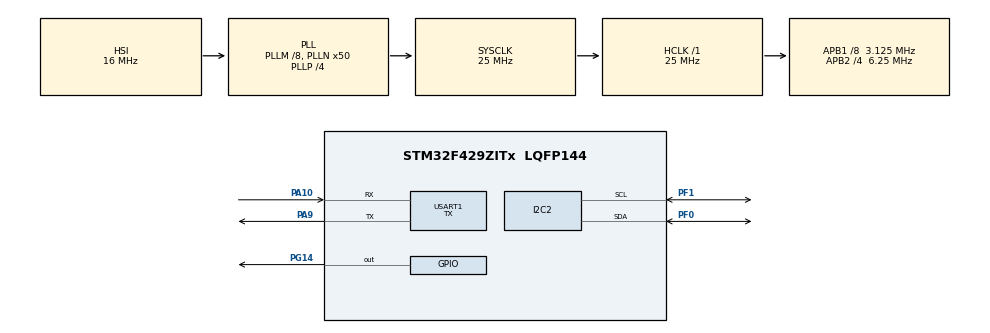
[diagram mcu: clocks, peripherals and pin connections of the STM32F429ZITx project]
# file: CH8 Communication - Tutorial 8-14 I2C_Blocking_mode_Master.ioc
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I2C2.OwnAddress=0x00
Mcu.Family=STM32F4
Mcu.Name=STM32F429ZITx
Mcu.Package=LQFP144
NVIC.PriorityGroup=NVIC_PRIORITYGROUP_0
PA10.Mode=Asynchronous
PA10.Signal=USART1_RX
PA9.Mode=Asynchronous
PA9.Signal=USART1_TX
PF0.GPIO_Pu=GPIO_PULLUP
PF0.Mode=I2C
PF0.Signal=I2C2_SDA
PF1.GPIO_Pu=GPIO_PULLUP
PF1.Mode=I2C
PF1.Signal=I2C2_SCL
PG14.Signal=GPIO_Output
ProjectManager.HeapSize=0x200
ProjectManager.StackSize=0x400
ProjectManager.TargetToolchain=STM32CubeIDE
RCC.48MHZClocksFreq_Value=14285714.285714285
RCC.AHBFreq_Value=25000000
RCC.APB1CLKDivider=RCC_HCLK_DIV8
RCC.APB1Freq_Value=3125000
RCC.APB1TimFreq_Value=6250000
RCC.APB2CLKDivider=RCC_HCLK_DIV4
RCC.APB2Freq_Value=6250000
RCC.APB2TimFreq_Value=12500000
RCC.CortexFreq_Value=25000000
RCC.HCLKFreq_Value=25000000
RCC.HSE_VALUE=8000000
RCC.HSI_VALUE=16000000
RCC.LSE_VALUE=32768
RCC.PLLM=8
RCC.PLLN=50
RCC.PLLP=RCC_PLLP_DIV4
RCC.PLLQ=7
RCC.SYSCLKFreq_VALUE=25000000
RCC.SYSCLKSource=RCC_SYSCLKSOURCE_PLLCLK
RCC.VCOOutputFreq_Value=100000000
USART1.Mode=MODE_TX
USART1.VirtualMode=VM_ASYNC
board=STM32F429I-DISC1

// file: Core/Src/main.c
/* USER CODE BEGIN Header */
/**
  ******************************************************************************
  * @file           : main.c
  * @brief          : Main program body
  ******************************************************************************
  * @attention
  *
  * Copyright (c) 2024 STMicroelectronics.
  * All rights reserved.
  *
  * This software is licensed under terms that can be found in the LICENSE file
  * in the root directory of this software component.
  * If no LICENSE file comes with this software, it is provided AS-IS.
  *
  ******************************************************************************
  */
	/***************************** Tutorial Tags ******************************
		 I2C Half duplex mode
		 GPIO Digital outputs
	 **************************************************************************/

	/* 8.4.4 I2C Usage in the STM32F4Microcontroller: **************************************
	 * Tutorial 8-1: Usage of the I2C module in blocking transmit operation mode, the C code

	Build a project using two microcontroller boards communicating with each other using I2C.
	if the microcontrolers are different and do not share the same drivers, use two projects to set them up.
	One of the MCUs is set a master and the other as a slave. In the projects, use two counters.
	The counter value is sent from the master board to the slave, and when received by the slave,
	the user led of the slave toggles. In return, the slave sends back its counter to the master
	and the master responds by toggling its user led.

	In this this tutorial I am using the STM32F DISCOVERY and the NULCLEO L476RG, and two projects
	are created separately to set them up.

	NOTE: Project description has been slightly modified from the one on the book

	Also, remember, if you are debug mode, with ST link connected to Master, you would
	need to reset the slave controller and run the Master to initiate communication with
	the slave device. The slave device will be powered externally.

	***************************************************************************/
/* USER CODE END Header */
#include "main.h"

/* USER CODE BEGIN Includes */
#include <stdio.h>
#include <stdlib.h>
#include <string.h>

/* USER CODE END Includes */

/* USER CODE BEGIN PD */
#define MASTER
//#define SLAVE

/* USER CODE END PD */

I2C_HandleTypeDef hi2c2;

UART_HandleTypeDef huart1;

/* USER CODE BEGIN PV */
// Data to be sent and received by the master
#ifdef MASTER
uint8_t masterTxdata = 0, masterRxdata;
// Buffer for messages
char * buf;
#endif

// Slave device address
static const uint16_t DevAddress = 0x50 << 1;

/* USER CODE END PV */

void SystemClock_Config(void);
static void MX_GPIO_Init(void);
static void MX_I2C2_Init(void);
static void MX_USART1_UART_Init(void);

int main(void)
{

  /* MCU Configuration--------------------------------------------------------*/

  /* Reset of all peripherals, Initializes the Flash interface and the Systick. */
  HAL_Init();

  /* Configure the system clock */
  SystemClock_Config();

  /* Initialize all configured peripherals */
  MX_GPIO_Init();
  MX_I2C2_Init();
  MX_USART1_UART_Init();

  /* USER CODE BEGIN 2 */
  buf = (char*) malloc(50);
  if (buf == NULL){
	  sprintf(buf, "error memory allocation!\r\n");
	  HAL_UART_Transmit(&huart1, (uint8_t*)buf, sizeof(buf), HAL_MAX_DELAY);
  }
  /* USER CODE END 2 */

  /* Infinite loop */
  /* USER CODE BEGIN WHILE */
  while (1)
  {

#ifdef MASTER
	  // Buffer to store string
	  HAL_StatusTypeDef ret;

	  ret  = HAL_I2C_Master_Transmit(&hi2c2, DevAddress , &masterTxdata , 1, HAL_MAX_DELAY);
	  if (ret != HAL_OK){
		  strcpy((char*) buf, "Error in Master Tx communication!\r\n");
		  HAL_UART_Transmit(&huart1, (uint8_t*) buf, sizeof(buf), HAL_MAX_DELAY);
	  }
	  else {
		  HAL_Delay(1000);
		  ret  = HAL_I2C_Master_Receive(&hi2c2, DevAddress , &masterRxdata , 1, HAL_MAX_DELAY);
		  if (ret != HAL_OK){
				  strcpy((char*) buf, "Error in Master Rx communication!\r\n");
				  HAL_UART_Transmit(&huart1, (uint8_t*) buf, sizeof(buf), HAL_MAX_DELAY);

			  }
		  else {
			  HAL_UART_Transmit(&huart1, &masterRxdata , 1, HAL_MAX_DELAY);
			  HAL_GPIO_TogglePin(GPIOG, GPIO_PIN_14);
		  }

	  }

#endif
    /* USER CODE END WHILE */

    /* USER CODE BEGIN 3 */
  }
  // free allocated storage
  free (buf);
  /* USER CODE END 3 */
}

void SystemClock_Config(void)
{
  RCC_OscInitTypeDef RCC_OscInitStruct = {0};
  RCC_ClkInitTypeDef RCC_ClkInitStruct = {0};

  /** Configure the main internal regulator output voltage
  */
  __HAL_RCC_PWR_CLK_ENABLE();
  __HAL_PWR_VOLTAGESCALING_CONFIG(PWR_REGULATOR_VOLTAGE_SCALE3);

  /** Initializes the RCC Oscillators according to the specified parameters
  * in the RCC_OscInitTypeDef structure.
  */
  RCC_OscInitStruct.OscillatorType = RCC_OSCILLATORTYPE_HSI;
  RCC_OscInitStruct.HSIState = RCC_HSI_ON;
  RCC_OscInitStruct.HSICalibrationValue = RCC_HSICALIBRATION_DEFAULT;
  RCC_OscInitStruct.PLL.PLLState = RCC_PLL_ON;
  RCC_OscInitStruct.PLL.PLLSource = RCC_PLLSOURCE_HSI;
  RCC_OscInitStruct.PLL.PLLM = 8;
  RCC_OscInitStruct.PLL.PLLN = 50;
  RCC_OscInitStruct.PLL.PLLP = RCC_PLLP_DIV4;
  RCC_OscInitStruct.PLL.PLLQ = 7;
  if (HAL_RCC_OscConfig(&RCC_OscInitStruct) != HAL_OK)
  {
    Error_Handler();
  }

  /** Initializes the CPU, AHB and APB buses clocks
  */
  RCC_ClkInitStruct.ClockType = RCC_CLOCKTYPE_HCLK|RCC_CLOCKTYPE_SYSCLK
                              |RCC_CLOCKTYPE_PCLK1|RCC_CLOCKTYPE_PCLK2;
  RCC_ClkInitStruct.SYSCLKSource = RCC_SYSCLKSOURCE_PLLCLK;
  RCC_ClkInitStruct.AHBCLKDivider = RCC_SYSCLK_DIV1;
  RCC_ClkInitStruct.APB1CLKDivider = RCC_HCLK_DIV8;
  RCC_ClkInitStruct.APB2CLKDivider = RCC_HCLK_DIV4;

  if (HAL_RCC_ClockConfig(&RCC_ClkInitStruct, FLASH_LATENCY_0) != HAL_OK)
  {
    Error_Handler();
  }
}

static void MX_I2C2_Init(void)
{

  hi2c2.Instance = I2C2;
  hi2c2.Init.ClockSpeed = 100000;
  hi2c2.Init.DutyCycle = I2C_DUTYCYCLE_2;
  hi2c2.Init.OwnAddress1 = 0;
  hi2c2.Init.AddressingMode = I2C_ADDRESSINGMODE_7BIT;
  hi2c2.Init.DualAddressMode = I2C_DUALADDRESS_DISABLE;
  hi2c2.Init.OwnAddress2 = 0;
  hi2c2.Init.GeneralCallMode = I2C_GENERALCALL_DISABLE;
  hi2c2.Init.NoStretchMode = I2C_NOSTRETCH_DISABLE;
  if (HAL_I2C_Init(&hi2c2) != HAL_OK)
  {
    Error_Handler();
  }

  /** Configure Analogue filter
  */
  if (HAL_I2CEx_ConfigAnalogFilter(&hi2c2, I2C_ANALOGFILTER_ENABLE) != HAL_OK)
  {
    Error_Handler();
  }

  /** Configure Digital filter
  */
  if (HAL_I2CEx_ConfigDigitalFilter(&hi2c2, 0) != HAL_OK)
  {
    Error_Handler();
  }

}

static void MX_USART1_UART_Init(void)
{

  huart1.Instance = USART1;
  huart1.Init.BaudRate = 115200;
  huart1.Init.WordLength = UART_WORDLENGTH_8B;
  huart1.Init.StopBits = UART_STOPBITS_1;
  huart1.Init.Parity = UART_PARITY_NONE;
  huart1.Init.Mode = UART_MODE_TX;
  huart1.Init.HwFlowCtl = UART_HWCONTROL_NONE;
  huart1.Init.OverSampling = UART_OVERSAMPLING_16;
  if (HAL_UART_Init(&huart1) != HAL_OK)
  {
    Error_Handler();
  }

}

static void MX_GPIO_Init(void)
{
  GPIO_InitTypeDef GPIO_InitStruct = {0};

  /* GPIO Ports Clock Enable */
  __HAL_RCC_GPIOF_CLK_ENABLE();
  __HAL_RCC_GPIOA_CLK_ENABLE();
  __HAL_RCC_GPIOG_CLK_ENABLE();

  /*Configure GPIO pin Output Level */
  HAL_GPIO_WritePin(GPIOG, GPIO_PIN_14, GPIO_PIN_RESET);

  /*Configure GPIO pin : PG14 */
  GPIO_InitStruct.Pin = GPIO_PIN_14;
  GPIO_InitStruct.Mode = GPIO_MODE_OUTPUT_PP;
  GPIO_InitStruct.Pull = GPIO_NOPULL;
  GPIO_InitStruct.Speed = GPIO_SPEED_FREQ_LOW;
  HAL_GPIO_Init(GPIOG, &GPIO_InitStruct);

}

void Error_Handler(void)
{
  __disable_irq();
  while (1)
  {
  }
}
